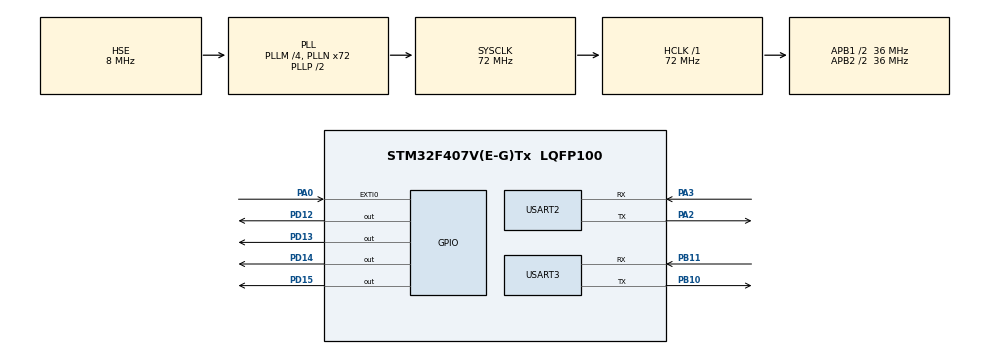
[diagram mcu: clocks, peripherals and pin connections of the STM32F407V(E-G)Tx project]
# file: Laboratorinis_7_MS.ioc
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Mcu.Family=STM32F4
Mcu.Name=STM32F407V(E-G)Tx
Mcu.Package=LQFP100
NVIC.PriorityGroup=NVIC_PRIORITYGROUP_0
NVIC.USART2_IRQn=true\:0\:0\:false\:true\:true\:2\:true\:true\:true
NVIC.USART3_IRQn=true\:0\:0\:false\:true\:true\:1\:true\:true\:true
PA0-WKUP.Signal=GPXTI0
PA2.Mode=Asynchronous
PA2.Signal=USART2_TX
PA3.Mode=Asynchronous
PA3.Signal=USART2_RX
PB10.Mode=Asynchronous
PB10.Signal=USART3_TX
PB11.Mode=Asynchronous
PB11.Signal=USART3_RX
PD12.Signal=GPIO_Output
PD13.Signal=GPIO_Output
PD14.Signal=GPIO_Output
PD15.Signal=GPIO_Output
PH0-OSC_IN.Mode=HSE-External-Oscillator
PH0-OSC_IN.Signal=RCC_OSC_IN
PH1-OSC_OUT.Mode=HSE-External-Oscillator
PH1-OSC_OUT.Signal=RCC_OSC_OUT
ProjectManager.HeapSize=0x200
ProjectManager.StackSize=0x400
ProjectManager.TargetToolchain=STM32CubeIDE
RCC.48MHZClocksFreq_Value=20571428.57142857
RCC.AHBFreq_Value=72000000
RCC.APB1CLKDivider=RCC_HCLK_DIV2
RCC.APB1Freq_Value=36000000
RCC.APB1TimFreq_Value=72000000
RCC.APB2CLKDivider=RCC_HCLK_DIV2
RCC.APB2Freq_Value=36000000
RCC.APB2TimFreq_Value=72000000
RCC.CortexFreq_Value=72000000
RCC.HCLKFreq_Value=72000000
RCC.HSE_VALUE=8000000
RCC.HSI_VALUE=16000000
RCC.PLLM=4
RCC.PLLN=72
RCC.PLLQ=7
RCC.PLLSourceVirtual=RCC_PLLSOURCE_HSE
RCC.SYSCLKFreq_VALUE=72000000
RCC.SYSCLKSource=RCC_SYSCLKSOURCE_PLLCLK
RCC.VCOOutputFreq_Value=144000000
USART2.VirtualMode=VM_ASYNC
USART3.VirtualMode=VM_ASYNC
board=STM32F407G-DISC1

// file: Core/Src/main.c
/* USER CODE BEGIN Header */
/**
  ******************************************************************************
  * @file           : main.c
  * @brief          : Main program body
  ******************************************************************************
  * @attention
  *
  * Copyright (c) 2023 STMicroelectronics.
  * All rights reserved.
  *
  * This software is licensed under terms that can be found in the LICENSE file
  * in the root directory of this software component.
  * If no LICENSE file comes with this software, it is provided AS-IS.
  *
  ******************************************************************************
  */
/* USER CODE END Header */
#include "main.h"

UART_HandleTypeDef huart2;
UART_HandleTypeDef huart3;

/* USER CODE BEGIN PV */
uint8_t c = 0b10101011; // 0xFF
uint8_t c4[4] = {0x06, 0x05, 0x04, 0x03};
uint8_t input;
uint8_t i = 0;
int programSwitch = 1;
/* USER CODE END PV */

void SystemClock_Config(void);
static void MX_GPIO_Init(void);
static void MX_USART2_UART_Init(void);
static void MX_USART3_UART_Init(void);
static void MX_NVIC_Init(void);

int main(void)
{

  /* MCU Configuration--------------------------------------------------------*/

  /* Reset of all peripherals, Initializes the Flash interface and the Systick. */
  HAL_Init();

  /* Configure the system clock */
  SystemClock_Config();

  /* Initialize all configured peripherals */
  MX_GPIO_Init();
  MX_USART2_UART_Init();
  MX_USART3_UART_Init();

  /* Initialize interrupts */
  MX_NVIC_Init();
  /* USER CODE BEGIN 2 */
  //HAL_UART_Receive_IT(&huart3, &input, 1);
  /* USER CODE END 2 */

  /* Infinite loop */
  /* USER CODE BEGIN WHILE */
  while (1)
  {
	  HAL_Delay(1000);

	  if (i > 3)
		  i = 0;
	  else
		  i++;

	  if(programSwitch == 1)
	  {
		  HAL_UART_Transmit(&huart2, &c, 1, 100);
		  HAL_UART_Receive(&huart3, &input, 1, 100);
		  GPIOD->ODR &= 0x0;
		  GPIOD->ODR |= (input << 12);
	  }
	  else
	  {
		  HAL_UART_Transmit(&huart2, &c4[i], 1, 100);
		  HAL_UART_Receive_IT(&huart3, &input, 1);
	  }

    /* USER CODE END WHILE */

  }
}

void SystemClock_Config(void)
{
  RCC_OscInitTypeDef RCC_OscInitStruct = {0};
  RCC_ClkInitTypeDef RCC_ClkInitStruct = {0};

  /** Configure the main internal regulator output voltage
  */
  __HAL_RCC_PWR_CLK_ENABLE();
  __HAL_PWR_VOLTAGESCALING_CONFIG(PWR_REGULATOR_VOLTAGE_SCALE1);

  /** Initializes the RCC Oscillators according to the specified parameters
  * in the RCC_OscInitTypeDef structure.
  */
  RCC_OscInitStruct.OscillatorType = RCC_OSCILLATORTYPE_HSE;
  RCC_OscInitStruct.HSEState = RCC_HSE_ON;
  RCC_OscInitStruct.PLL.PLLState = RCC_PLL_ON;
  RCC_OscInitStruct.PLL.PLLSource = RCC_PLLSOURCE_HSE;
  RCC_OscInitStruct.PLL.PLLM = 4;
  RCC_OscInitStruct.PLL.PLLN = 72;
  RCC_OscInitStruct.PLL.PLLP = RCC_PLLP_DIV2;
  RCC_OscInitStruct.PLL.PLLQ = 7;
  if (HAL_RCC_OscConfig(&RCC_OscInitStruct) != HAL_OK)
  {
    Error_Handler();
  }

  /** Initializes the CPU, AHB and APB buses clocks
  */
  RCC_ClkInitStruct.ClockType = RCC_CLOCKTYPE_HCLK|RCC_CLOCKTYPE_SYSCLK
                              |RCC_CLOCKTYPE_PCLK1|RCC_CLOCKTYPE_PCLK2;
  RCC_ClkInitStruct.SYSCLKSource = RCC_SYSCLKSOURCE_PLLCLK;
  RCC_ClkInitStruct.AHBCLKDivider = RCC_SYSCLK_DIV1;
  RCC_ClkInitStruct.APB1CLKDivider = RCC_HCLK_DIV2;
  RCC_ClkInitStruct.APB2CLKDivider = RCC_HCLK_DIV2;

  if (HAL_RCC_ClockConfig(&RCC_ClkInitStruct, FLASH_LATENCY_2) != HAL_OK)
  {
    Error_Handler();
  }
}

/**
  * @brief NVIC Configuration.
  * @retval None
  */
static void MX_NVIC_Init(void)
{
  /* USART3_IRQn interrupt configuration */
  HAL_NVIC_SetPriority(USART3_IRQn, 0, 0);
  HAL_NVIC_EnableIRQ(USART3_IRQn);
  /* USART2_IRQn interrupt configuration */
  HAL_NVIC_SetPriority(USART2_IRQn, 0, 0);
  HAL_NVIC_EnableIRQ(USART2_IRQn);
}

static void MX_USART2_UART_Init(void)
{

  huart2.Instance = USART2;
  huart2.Init.BaudRate = 115200;
  huart2.Init.WordLength = UART_WORDLENGTH_8B;
  huart2.Init.StopBits = UART_STOPBITS_1;
  huart2.Init.Parity = UART_PARITY_NONE;
  huart2.Init.Mode = UART_MODE_TX_RX;
  huart2.Init.HwFlowCtl = UART_HWCONTROL_NONE;
  huart2.Init.OverSampling = UART_OVERSAMPLING_16;
  if (HAL_UART_Init(&huart2) != HAL_OK)
  {
    Error_Handler();
  }

}

static void MX_USART3_UART_Init(void)
{

  huart3.Instance = USART3;
  huart3.Init.BaudRate = 115200;
  huart3.Init.WordLength = UART_WORDLENGTH_8B;
  huart3.Init.StopBits = UART_STOPBITS_1;
  huart3.Init.Parity = UART_PARITY_NONE;
  huart3.Init.Mode = UART_MODE_TX_RX;
  huart3.Init.HwFlowCtl = UART_HWCONTROL_NONE;
  huart3.Init.OverSampling = UART_OVERSAMPLING_16;
  if (HAL_UART_Init(&huart3) != HAL_OK)
  {
    Error_Handler();
  }

}

static void MX_GPIO_Init(void)
{
  GPIO_InitTypeDef GPIO_InitStruct = {0};

  /* GPIO Ports Clock Enable */
  __HAL_RCC_GPIOH_CLK_ENABLE();
  __HAL_RCC_GPIOA_CLK_ENABLE();
  __HAL_RCC_GPIOB_CLK_ENABLE();
  __HAL_RCC_GPIOD_CLK_ENABLE();

  /*Configure GPIO pin Output Level */
  HAL_GPIO_WritePin(GPIOD, GPIO_PIN_12|GPIO_PIN_13|GPIO_PIN_14|GPIO_PIN_15, GPIO_PIN_RESET);

  /*Configure GPIO pin : PA0 */
  GPIO_InitStruct.Pin = GPIO_PIN_0;
  GPIO_InitStruct.Mode = GPIO_MODE_IT_RISING;
  GPIO_InitStruct.Pull = GPIO_NOPULL;
  HAL_GPIO_Init(GPIOA, &GPIO_InitStruct);

  /*Configure GPIO pins : PD12 PD13 PD14 PD15 */
  GPIO_InitStruct.Pin = GPIO_PIN_12|GPIO_PIN_13|GPIO_PIN_14|GPIO_PIN_15;
  GPIO_InitStruct.Mode = GPIO_MODE_OUTPUT_PP;
  GPIO_InitStruct.Pull = GPIO_NOPULL;
  GPIO_InitStruct.Speed = GPIO_SPEED_FREQ_LOW;
  HAL_GPIO_Init(GPIOD, &GPIO_InitStruct);

}

/* USER CODE BEGIN 4 */
void HAL_UART_RxCpltCallback(UART_HandleTypeDef *UartHandle)
{
	if(UartHandle->Instance == USART3)
	{
		GPIOD->ODR &= 0x0;
		GPIOD->ODR |= (input << 12);
	}
}
/* USER CODE END 4 */

void Error_Handler(void)
{
  __disable_irq();
  while (1)
  {
  }
}
